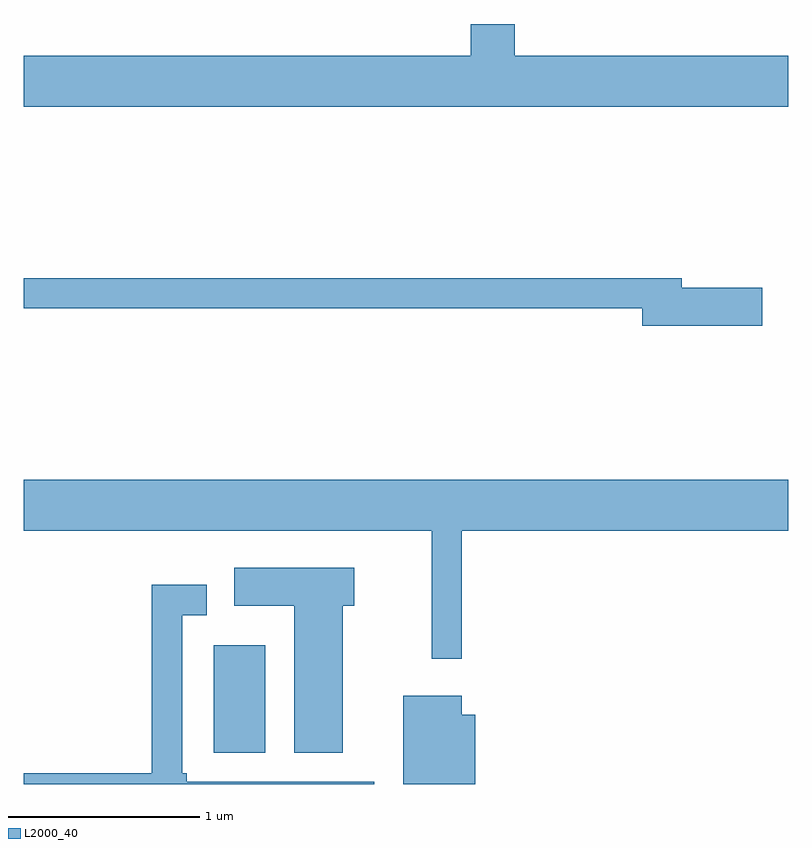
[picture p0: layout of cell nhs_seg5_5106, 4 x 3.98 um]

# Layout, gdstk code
import gdstk
lib = gdstk.Library(unit=1e-6, precision=1e-09)
def R(c, l, rs):  # rectangles x0, y0, x1, y1
    for r in rs: c.add(gdstk.rectangle(r[:2], r[2:], *l))
def P(c, l, *ps):  # polygons
    for p in ps: c.add(gdstk.Polygon(p, *l))
L2000_40 = (2000, 40)

nhs_seg5_5106 = lib.new_cell('nhs_seg5_5106')
R(nhs_seg5_5106, L2000_40, [(336.606,1522.236,336.874,1522.799)])
P(nhs_seg5_5106, L2000_40, [(339.611,1525.884),(338.179,1525.884),(338.179,1526.049),(337.951,1526.049),(337.951,1525.884),(335.611,1525.884),(335.611,1525.616),(339.611,1525.616)],
  [(339.474,1524.669),(339.054,1524.669),(339.054,1524.719),(335.611,1524.719),(335.611,1524.561),(338.846,1524.561),(338.846,1524.471),(339.474,1524.471)],
  [(337.904,1523.396),(339.611,1523.396),(339.611,1523.664),(335.611,1523.664),(335.611,1523.396),(337.746,1523.396),(337.746,1522.728),(337.904,1522.728)],
  [(337.279,1523.006),(337.339,1523.006),(337.339,1523.204),(336.711,1523.204),(336.711,1523.006),(337.026,1523.006),(337.026,1522.236),(337.279,1522.236)],
  [(337.444,1522.084),(336.464,1522.084),(336.464,1522.129),(336.439,1522.129),(336.439,1522.956),(336.568,1522.956),(336.568,1523.114),(336.281,1523.114),(336.281,1522.129),(335.611,1522.129),(335.611,1522.072),(337.444,1522.072)],
  [(337.974,1522.434),(337.904,1522.434),(337.904,1522.534),(337.596,1522.534),(337.596,1522.072),(337.974,1522.072)])

lib.write_gds('nhs_seg5_5106.gds')
